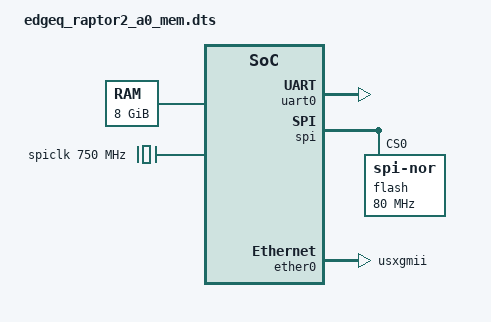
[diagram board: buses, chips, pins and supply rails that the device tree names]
/dts-v1/;

/ {
	interrupt-parent = <0x8001>;
	#size-cells = <0x2>;
	#address-cells = <0x2>;
	compatible = "linux,dummy-virt";

	aliases {
		spi0 = &spi;
	};

	memory@400000000 {
		reg = <0x00000004 0x00000000 0x2 0x00000000>;
		device_type = "memory";
	};

	cpus {
		#size-cells = <0x0>;
		#address-cells = <0x1>;

		cpu@0 {
			reg = <0x0>;
			compatible = "arm,armv8";
			device_type = "cpu";
			enable-method = "psci";
		};

		cpu@1 {
			reg = <0x1>;
			compatible = "arm,armv8";
			device_type = "cpu";
			enable-method = "psci";
		};
	};

	psci {
		compatible = "arm,psci-1.0", "arm,psci-0.2";
		method = "smc";
	};

	chosen {
		stdout-path = &uart0;
	};

	uart0: serial@70434000 {
		clock-names = "uartclk";
		reg = <0x0 0x70434000 0x0 0x1000>;
		compatible = "ns16550a", "ns16550";
		clock-frequency = <1500000000>; /* 1.5 GHz */
		reg-shift = <3>;
		reg-offset = <0x40>;    /* Base * 2 */
	};

	spiclk: virt_100mhz {
		#clock-cells = <0>;
		compatible = "fixed-clock";
		clock-frequency = <750000000>;
	};

	spi: spi@704d0000 {
		compatible = "andestech,atcspi200";
		reg = <0x0 0x704d0000 0x0 0x1000>;
		num-cs = <1>;
		/* interrupts = <0 12 4>; */
		clocks = <&spiclk>;
		#address-cells = <0x1>;
		#size-cells = <0x0>;
		flash@0 {
		     compatible = "jedec,spi-nor";
		     spi-max-frequency = <80000000>;
		     reg = <0>;
		};
	};

	ether0: ethernet@3c040000 {
		compatible = "edgeq,xgbe";
		reg = <0x0 0x3C040000 0x0 0x40000>,     // XGMAC/XLGMAC addr
		      <0x0 0x3C1C0000 0x0 0x40000>,     // XPCS/XLGPCS addr
		      <0x0 0x3C2C0000 0x0 0x10000>,     // MISC addr; on eth0 only
		      <0x0 0x3C2F0000 0x0 0x10000>;     // E56 addr; on eth0 only
		reg-names = "xgmac", "xpcs", "misc", "e56";
		max-speed = <10000>;
		phy-mode = "usxgmii";
		phy-addr = <0x1D>;
		phy-lane = <0>;
		prog-e32;       // Only XPCS-0 or XLGPCS-25G programs E32
	};
};
